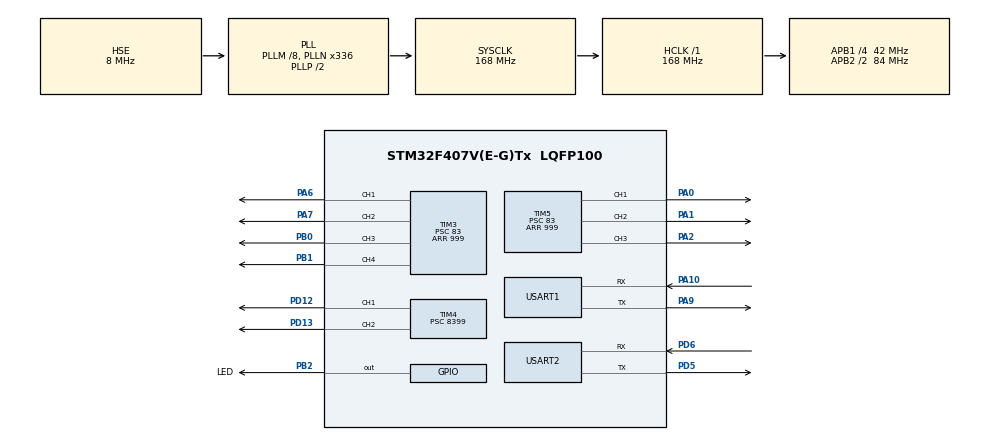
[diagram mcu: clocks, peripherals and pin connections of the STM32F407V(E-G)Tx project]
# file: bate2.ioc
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Mcu.Family=STM32F4
Mcu.Name=STM32F407V(E-G)Tx
Mcu.Package=LQFP100
NVIC.PriorityGroup=NVIC_PRIORITYGROUP_4
NVIC.TIM6_DAC_IRQn=true\:15\:0\:false\:false\:true\:false\:true\:true
NVIC.TIM7_IRQn=true\:1\:0\:true\:false\:true\:true\:true\:true
NVIC.TimeBase=TIM6_DAC_IRQn
NVIC.TimeBaseIP=TIM6
NVIC.USART1_IRQn=true\:2\:0\:true\:false\:true\:true\:true\:true
NVIC.USART2_IRQn=true\:2\:0\:true\:false\:true\:true\:true\:true
PA0-WKUP.Signal=S_TIM5_CH1
PA1.Signal=S_TIM5_CH2
PA10.Mode=Asynchronous
PA10.Signal=USART1_RX
PA13.Mode=Serial_Wire
PA13.Signal=SYS_JTMS-SWDIO
PA14.Mode=Serial_Wire
PA14.Signal=SYS_JTCK-SWCLK
PA2.Signal=S_TIM5_CH3
PA6.Signal=S_TIM3_CH1
PA7.Signal=S_TIM3_CH2
PA9.Mode=Asynchronous
PA9.Signal=USART1_TX
PB0.Signal=S_TIM3_CH3
PB1.Signal=S_TIM3_CH4
PB2.GPIO_Label=LED
PB2.PinState=GPIO_PIN_RESET
PB2.Signal=GPIO_Output
PD12.Signal=S_TIM4_CH1
PD13.Signal=S_TIM4_CH2
PD5.Mode=Asynchronous
PD5.Signal=USART2_TX
PD6.Mode=Asynchronous
PD6.Signal=USART2_RX
PH0-OSC_IN.Mode=HSE-External-Oscillator
PH0-OSC_IN.Signal=RCC_OSC_IN
PH1-OSC_OUT.Mode=HSE-External-Oscillator
PH1-OSC_OUT.Signal=RCC_OSC_OUT
ProjectManager.HeapSize=0x200
ProjectManager.StackSize=0x400
ProjectManager.TargetToolchain=CMake
RCC.48MHZClocksFreq_Value=84000000
RCC.AHBFreq_Value=168000000
RCC.APB1CLKDivider=RCC_HCLK_DIV4
RCC.APB1Freq_Value=42000000
RCC.APB1TimFreq_Value=84000000
RCC.APB2CLKDivider=RCC_HCLK_DIV2
RCC.APB2Freq_Value=84000000
RCC.APB2TimFreq_Value=168000000
RCC.CortexFreq_Value=168000000
RCC.HCLKFreq_Value=168000000
RCC.HSE_VALUE=8000000
RCC.HSI_VALUE=16000000
RCC.PLLM=8
RCC.PLLN=168
RCC.SYSCLKFreq_VALUE=168000000
RCC.SYSCLKSource=RCC_SYSCLKSOURCE_PLLCLK
RCC.VCOOutputFreq_Value=336000000
SH.S_TIM3_CH1.0=TIM3_CH1,PWM Generation1 CH1
SH.S_TIM3_CH2.0=TIM3_CH2,PWM Generation2 CH2
SH.S_TIM3_CH3.0=TIM3_CH3,PWM Generation3 CH3
SH.S_TIM3_CH4.0=TIM3_CH4,PWM Generation4 CH4
SH.S_TIM4_CH1.0=TIM4_CH1,PWM Generation1 CH1
SH.S_TIM4_CH2.0=TIM4_CH2,PWM Generation2 CH2
SH.S_TIM5_CH1.0=TIM5_CH1,PWM Generation1 CH1
SH.S_TIM5_CH2.0=TIM5_CH2,PWM Generation2 CH2
SH.S_TIM5_CH3.0=TIM5_CH3,PWM Generation3 CH3
TIM3.AutoReloadPreload=TIM_AUTORELOAD_PRELOAD_ENABLE
TIM3.Channel-PWM\ Generation1\ CH1=TIM_CHANNEL_1
TIM3.Channel-PWM\ Generation2\ CH2=TIM_CHANNEL_2
TIM3.Channel-PWM\ Generation3\ CH3=TIM_CHANNEL_3
TIM3.Channel-PWM\ Generation4\ CH4=TIM_CHANNEL_4
TIM3.Period=999
TIM3.Prescaler=83
TIM4.AutoReloadPreload=TIM_AUTORELOAD_PRELOAD_ENABLE
TIM4.Channel-PWM\ Generation1\ CH1=TIM_CHANNEL_1
TIM4.Channel-PWM\ Generation2\ CH2=TIM_CHANNEL_2
TIM4.Period=199
TIM4.Prescaler=8399
TIM5.AutoReloadPreload=TIM_AUTORELOAD_PRELOAD_ENABLE
TIM5.Channel-PWM\ Generation1\ CH1=TIM_CHANNEL_1
TIM5.Channel-PWM\ Generation2\ CH2=TIM_CHANNEL_2
TIM5.Channel-PWM\ Generation3\ CH3=TIM_CHANNEL_3
TIM5.Channel-PWM\ Generation4\ No\ Output=TIM_CHANNEL_4
TIM5.Period=999
TIM5.Prescaler=83
TIM7.AutoReloadPreload=TIM_AUTORELOAD_PRELOAD_ENABLE
TIM7.Period=9999
TIM7.Prescaler=8399
USART1.VirtualMode=VM_ASYNC
USART2.VirtualMode=VM_ASYNC
VP_SYS_VS_tim6.Mode=TIM6
VP_TIM5_VS_no_output4.Mode=PWM Generation4 No Output
VP_TIM7_VS_ClockSourceINT.Mode=Enable_Timer
board=custom

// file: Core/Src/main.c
/* USER CODE BEGIN Header */
/**
  ******************************************************************************
  * @file           : main.c
  * @brief          : Main program body
  ******************************************************************************
  * @attention
  *
  * Copyright (c) 2026 STMicroelectronics.
  * All rights reserved.
  *
  * This software is licensed under terms that can be found in the LICENSE file
  * in the root directory of this software component.
  * If no LICENSE file comes with this software, it is provided AS-IS.
  *
  ******************************************************************************
  */
/* USER CODE END Header */
#include "main.h"
#include "tim.h"
#include "usart.h"
#include "gpio.h"

/* USER CODE BEGIN Includes */
#include "board.h"
#include "bsp_uart.h"
#include "bsp_sys_timer.h"
#include "task_idle.h"
#include "task_motor_ctrl.h"
#include "task_camera_ctrl.h"
#include <stdio.h>
/* USER CODE END Includes */

void SystemClock_Config(void);

int main(void)
{

  /* MCU Configuration--------------------------------------------------------*/

  /* Reset of all peripherals, Initializes the Flash interface and the Systick. */
  HAL_Init();

  /* Configure the system clock */
  SystemClock_Config();

  /* Initialize all configured peripherals */
  MX_GPIO_Init();
  MX_TIM3_Init();
  MX_TIM4_Init();
  MX_TIM5_Init();
  MX_TIM7_Init();
  MX_USART1_UART_Init();
  MX_USART2_UART_Init();
  /* USER CODE BEGIN 2 */
  board_init();
  uart1_init(115200);
  uart2_init(115200);
  sys_timer_init();

  /* UART1 启动测试 - 确认串口通信正常 */
  printf("\r\n[BOOT] STM32F407 智能小车 启动成功\r\n");
  printf("[BOOT] UART1 115200bps OK\r\n");
  printf("[BOOT] 输入 test 运行脱机测试\r\n\r\n");

  task_idle_init();
  task_camera_ctrl_init();
  /* USER CODE END 2 */

  /* Infinite loop */
  while (1)
  {

    /* USER CODE BEGIN 3 */
    task_motor_ctrl();
    task_camera_ctrl();
    task_idle();
  }
  /* USER CODE END 3 */
}

void SystemClock_Config(void)
{
  RCC_OscInitTypeDef RCC_OscInitStruct = {0};
  RCC_ClkInitTypeDef RCC_ClkInitStruct = {0};

  /** Configure the main internal regulator output voltage
  */
  __HAL_RCC_PWR_CLK_ENABLE();
  __HAL_PWR_VOLTAGESCALING_CONFIG(PWR_REGULATOR_VOLTAGE_SCALE1);

  /** Initializes the RCC Oscillators according to the specified parameters
  * in the RCC_OscInitTypeDef structure.
  * HSE = 8MHz, PLL: 8MHz/8=1MHz, 1MHz*336=336MHz, 336MHz/2=168MHz
  */
  RCC_OscInitStruct.OscillatorType = RCC_OSCILLATORTYPE_HSE;
  RCC_OscInitStruct.HSEState = RCC_HSE_ON;
  RCC_OscInitStruct.PLL.PLLState = RCC_PLL_ON;
  RCC_OscInitStruct.PLL.PLLSource = RCC_PLLSOURCE_HSE;
  RCC_OscInitStruct.PLL.PLLM = 8;
  RCC_OscInitStruct.PLL.PLLN = 336;
  RCC_OscInitStruct.PLL.PLLP = RCC_PLLP_DIV2;
  RCC_OscInitStruct.PLL.PLLQ = 7;
  if (HAL_RCC_OscConfig(&RCC_OscInitStruct) != HAL_OK)
  {
    Error_Handler();
  }

  /** Initializes the CPU, AHB and APB buses clocks
  * SYSCLK=168MHz, HCLK=168MHz, APB1=42MHz, APB2=84MHz
  */
  RCC_ClkInitStruct.ClockType = RCC_CLOCKTYPE_HCLK|RCC_CLOCKTYPE_SYSCLK
                              |RCC_CLOCKTYPE_PCLK1|RCC_CLOCKTYPE_PCLK2;
  RCC_ClkInitStruct.SYSCLKSource = RCC_SYSCLKSOURCE_PLLCLK;
  RCC_ClkInitStruct.AHBCLKDivider = RCC_SYSCLK_DIV1;
  RCC_ClkInitStruct.APB1CLKDivider = RCC_HCLK_DIV4;
  RCC_ClkInitStruct.APB2CLKDivider = RCC_HCLK_DIV2;

  if (HAL_RCC_ClockConfig(&RCC_ClkInitStruct, FLASH_LATENCY_5) != HAL_OK)
  {
    Error_Handler();
  }
}

/* HAL_TIM_PeriodElapsedCallback 已移至 bsp_sys_timer.c 统一管理 */

void Error_Handler(void)
{
  __disable_irq();
  while (1)
  {
  }
}
